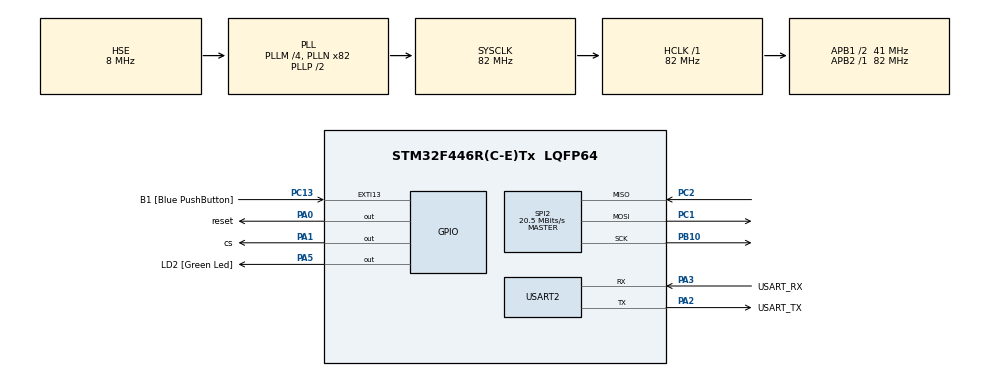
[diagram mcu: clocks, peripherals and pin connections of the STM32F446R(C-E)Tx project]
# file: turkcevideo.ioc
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Mcu.Family=STM32F4
Mcu.Name=STM32F446R(C-E)Tx
Mcu.Package=LQFP64
NVIC.PriorityGroup=NVIC_PRIORITYGROUP_0
PA0-WKUP.GPIO_Label=reset
PA0-WKUP.Signal=GPIO_Output
PA1.GPIO_Label=cs
PA1.Signal=GPIO_Output
PA13.GPIO_Label=TMS
PA13.Mode=Serial_Wire
PA13.Signal=SYS_JTMS-SWDIO
PA14.GPIO_Label=TCK
PA14.Mode=Serial_Wire
PA14.Signal=SYS_JTCK-SWCLK
PA2.GPIO_Label=USART_TX
PA2.Mode=Asynchronous
PA2.Signal=USART2_TX
PA3.GPIO_Label=USART_RX
PA3.Mode=Asynchronous
PA3.Signal=USART2_RX
PA5.GPIO_Label=LD2 [Green Led]
PA5.Signal=GPIO_Output
PB10.Mode=Full_Duplex_Master
PB10.Signal=SPI2_SCK
PB3.GPIO_Label=SWO
PB3.Signal=SYS_JTDO-SWO
PC1.Mode=Full_Duplex_Master
PC1.Signal=SPI2_MOSI
PC13.GPIO_Label=B1 [Blue PushButton]
PC13.GPIO_ModeDefaultEXTI=GPIO_MODE_IT_FALLING
PC13.Signal=GPXTI13
PC14-OSC32_IN.Mode=LSE-External-Oscillator
PC14-OSC32_IN.Signal=RCC_OSC32_IN
PC15-OSC32_OUT.Mode=LSE-External-Oscillator
PC15-OSC32_OUT.Signal=RCC_OSC32_OUT
PC2.Mode=Full_Duplex_Master
PC2.Signal=SPI2_MISO
PH0-OSC_IN.Mode=HSE-External-Oscillator
PH0-OSC_IN.Signal=RCC_OSC_IN
PH1-OSC_OUT.Mode=HSE-External-Oscillator
PH1-OSC_OUT.Signal=RCC_OSC_OUT
ProjectManager.HeapSize=0x200
ProjectManager.StackSize=0x400
ProjectManager.TargetToolchain=STM32CubeIDE
RCC.48MHZClocksFreq_Value=84000000
RCC.AHBFreq_Value=82000000
RCC.APB1CLKDivider=RCC_HCLK_DIV2
RCC.APB1Freq_Value=41000000
RCC.APB1TimFreq_Value=82000000
RCC.APB2Freq_Value=82000000
RCC.APB2TimFreq_Value=82000000
RCC.CortexFreq_Value=82000000
RCC.FLatency-AdvancedSettings=FLASH_LATENCY_2
RCC.HCLKFreq_Value=82000000
RCC.HSE_VALUE=8000000
RCC.HSI_VALUE=16000000
RCC.PLLM=4
RCC.PLLN=82
RCC.PLLSourceVirtual=RCC_PLLSOURCE_HSE
RCC.SYSCLKFreq_VALUE=82000000
RCC.SYSCLKSource=RCC_SYSCLKSOURCE_PLLCLK
RCC.USBFreq_Value=82000000
RCC.VCOOutputFreq_Value=164000000
SPI2.CalculateBaudRate=20.5 MBits/s
SPI2.Direction=SPI_DIRECTION_2LINES
SPI2.Mode=SPI_MODE_MASTER
SPI2.VirtualType=VM_MASTER
USART2.VirtualMode=VM_ASYNC
board=NUCLEO-F446RE

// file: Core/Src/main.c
/* USER CODE BEGIN Header */
/**
  ******************************************************************************
  * @file           : main.c
  * @brief          : Main program body
  ******************************************************************************
  * @attention
  *
  * Copyright (c) 2025 STMicroelectronics.
  * All rights reserved.
  *
  * This software is licensed under terms that can be found in the LICENSE file
  * in the root directory of this software component.
  * If no LICENSE file comes with this software, it is provided AS-IS.
  *
  ******************************************************************************
  */
/* USER CODE END Header */
#include "main.h"
#include "spi.h"
#include "usart.h"
#include "gpio.h"

/* USER CODE BEGIN Includes */
#include "wizchip_conf.h"//W5500 (WIZnet) Ethernet çipini kullanmak için.
#include "socket.h"//W5500 (WIZnet) Ethernet çipini kullanmak için.
#include <stm32f4xx_hal.h>
#include <string.h>
#include "loopback.h"
/* USER CODE END Includes */

/* USER CODE BEGIN PV */
uint8_t s=0;
uint8_t serverip[4]={192,168,1,100};//bağlanılacak TCP sunucunun IP adresi.
uint8_t Baglan;//bağlantı kontrolü için değişken
uint8_t bufSize[4] = {2, 2, 2, 2}; //W5500 için soketlerin TX ve RX buffer boyutları
uint16_t deneme=0;
uint16_t serverport= 45000;//sunucunun portu

/* USER CODE END PV */

void SystemClock_Config(void);

/* USER CODE BEGIN 0 */
void cs_sel() {
	HAL_GPIO_WritePin(cs_GPIO_Port, cs_Pin, GPIO_PIN_RESET); //CS LOW
}

void cs_desel() {
	HAL_GPIO_WritePin(cs_GPIO_Port, cs_Pin, GPIO_PIN_SET); //CS HIGH
}//bu fonksiyonlar çipin seçilip seçilmediğini belirtiyor.

uint8_t spi_rb(void) {
	uint8_t rbuf;
	HAL_SPI_Receive(&hspi2, &rbuf, 1, 0xFFFFFFFF);
	return rbuf;
}//SPI üzerinden tek bayt veri alma fonksiyonu

void spi_wb(uint8_t b) {
	HAL_SPI_Transmit(&hspi2, &b, 1, 0xFFFFFFFF);
}//SPI üzerinden tek bayt veri gönderme fonksiyonu
/* USER CODE END 0 */

int main(void)
{

  /* MCU Configuration--------------------------------------------------------*/

  /* Reset of all peripherals, Initializes the Flash interface and the Systick. */
  HAL_Init();

  /* Configure the system clock */
  SystemClock_Config();

  /* Initialize all configured peripherals */
  MX_GPIO_Init();
  MX_USART2_UART_Init();
  MX_SPI2_Init();
  /* USER CODE BEGIN 2 */
  reg_wizchip_cs_cbfunc(cs_sel, cs_desel);
  reg_wizchip_spi_cbfunc(spi_rb, spi_wb);//w5500'e CS ve SPI callback fonksiyonlarını tanıttık

  wizchip_init(bufSize, bufSize);
       wiz_NetInfo netInfo = { .mac 	= {0x00, 0x08, 0xdc, 0xab, 0xcd, 0xef},	// Mac address
                               .ip 	= {192, 168, 1, 192},					// IP address
                               .sn 	= {255, 255, 255, 0},					// Subnet mask
                               .gw 	= {192, 168, 1, 2}};					// Gateway address
       wizchip_setnetinfo(&netInfo);
       wizchip_getnetinfo(&netInfo);// W5500 başlattık ve IP,subnet,gateway ayarlarını yaptık
  /* USER CODE END 2 */

  /* Infinite loop */
  while (1)
  {

    /* USER CODE BEGIN 3 */

	  if (getSn_SR(s) != SOCK_CLOSED) {
	      close(s);
	  }//Bağlantı açık mı diye baktık açıksa kapattık

	  socket(s, Sn_MR_TCP, 50000, 0);//portu 50000 olan yeni bir TCP soketi açtık

	  Baglan = connect_3(s, serverip, 45000);//Seçtiğimiz IP ve porta bağlandık
	  //connect_3() fonksiyonu W5500'ün bağlanma fonksiyonu
	  while(getSn_SR(s) != SOCK_ESTABLISHED) {//bağlanmadıysa tcp bağlantısı kurana kadar bekler
	      printf("Bağlanmaya çalışıyor...\n");
	      HAL_Delay(500);
	  }

	  printf("Bağlantı kuruldu!\n");

	  if(getSn_SR(s) == SOCK_ESTABLISHED) {//bağlandıysa yazdığımız veriyi gönder dedik
	      char mesaj[] = "Selam biz Yildiz Roket Yazilim Destek Ekibi!\n";
	      int gonderilen = send(s, (uint8_t *)mesaj, strlen(mesaj));

	  }
  }

  /* USER CODE END 3 */
}

void SystemClock_Config(void)
{
  RCC_OscInitTypeDef RCC_OscInitStruct = {0};
  RCC_ClkInitTypeDef RCC_ClkInitStruct = {0};

  /** Configure the main internal regulator output voltage
  */
  __HAL_RCC_PWR_CLK_ENABLE();
  __HAL_PWR_VOLTAGESCALING_CONFIG(PWR_REGULATOR_VOLTAGE_SCALE3);

  /** Initializes the RCC Oscillators according to the specified parameters
  * in the RCC_OscInitTypeDef structure.
  */
  RCC_OscInitStruct.OscillatorType = RCC_OSCILLATORTYPE_HSE;
  RCC_OscInitStruct.HSEState = RCC_HSE_ON;
  RCC_OscInitStruct.PLL.PLLState = RCC_PLL_ON;
  RCC_OscInitStruct.PLL.PLLSource = RCC_PLLSOURCE_HSE;
  RCC_OscInitStruct.PLL.PLLM = 4;
  RCC_OscInitStruct.PLL.PLLN = 82;
  RCC_OscInitStruct.PLL.PLLP = RCC_PLLP_DIV2;
  RCC_OscInitStruct.PLL.PLLQ = 2;
  RCC_OscInitStruct.PLL.PLLR = 2;
  if (HAL_RCC_OscConfig(&RCC_OscInitStruct) != HAL_OK)
  {
    Error_Handler();
  }

  /** Initializes the CPU, AHB and APB buses clocks
  */
  RCC_ClkInitStruct.ClockType = RCC_CLOCKTYPE_HCLK|RCC_CLOCKTYPE_SYSCLK
                              |RCC_CLOCKTYPE_PCLK1|RCC_CLOCKTYPE_PCLK2;
  RCC_ClkInitStruct.SYSCLKSource = RCC_SYSCLKSOURCE_PLLCLK;
  RCC_ClkInitStruct.AHBCLKDivider = RCC_SYSCLK_DIV1;
  RCC_ClkInitStruct.APB1CLKDivider = RCC_HCLK_DIV2;
  RCC_ClkInitStruct.APB2CLKDivider = RCC_HCLK_DIV1;

  if (HAL_RCC_ClockConfig(&RCC_ClkInitStruct, FLASH_LATENCY_2) != HAL_OK)
  {
    Error_Handler();
  }
}

void Error_Handler(void)
{
  __disable_irq();
  while (1)
  {
  }
}
